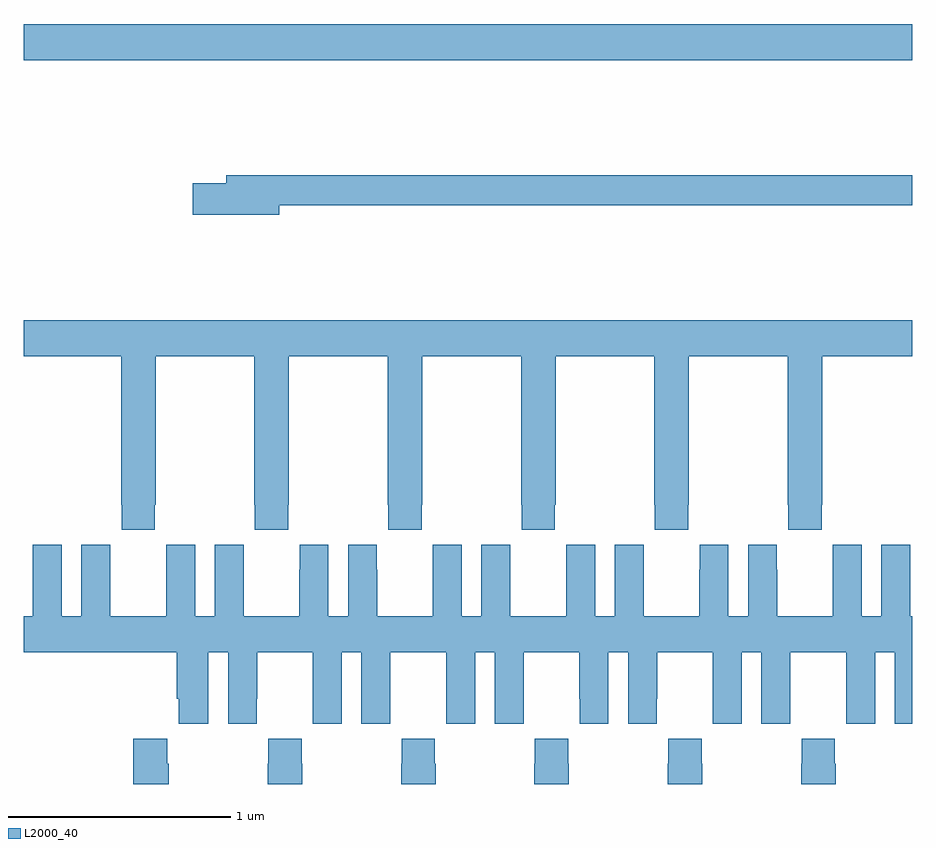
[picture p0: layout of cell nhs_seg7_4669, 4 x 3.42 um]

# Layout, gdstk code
import gdstk
lib = gdstk.Library(unit=1e-6, precision=1e-09)
def R(c, l, rs):  # rectangles x0, y0, x1, y1
    for r in rs: c.add(gdstk.rectangle(r[:2], r[2:], *l))
def P(c, l, *ps):  # polygons
    for p in ps: c.add(gdstk.Polygon(p, *l))
L2000_40 = (2000, 40)

nhs_seg7_4669 = lib.new_cell('nhs_seg7_4669')
R(nhs_seg7_4669, L2000_40, [(405,1027.256,409,1027.42)])
P(nhs_seg7_4669, L2000_40, [(406.15,1026.604),(409,1026.604),(409,1026.74),(405.911,1026.74),(405.911,1026.704),(405.762,1026.704),(405.762,1026.562),(406.15,1026.562)],
  [(405.591,1025.257),(405.594,1025.257),(405.594,1025.924),(406.039,1025.924),(406.039,1025.257),(406.041,1025.257),(406.041,1025.145),(406.191,1025.145),(406.191,1025.257),(406.194,1025.257),(406.194,1025.924),(406.639,1025.924),(406.639,1025.257),(406.641,1025.257),(406.641,1025.145),(406.791,1025.145),(406.791,1025.257),(406.794,1025.257),(406.794,1025.924),(407.239,1025.924),(407.239,1025.257),(407.241,1025.257),(407.241,1025.145),(407.391,1025.145),(407.391,1025.257),(407.394,1025.257),(407.394,1025.924),(407.839,1025.924),(407.839,1025.257),(407.841,1025.257),(407.841,1025.145),(407.991,1025.145),(407.991,1025.257),(407.994,1025.257),(407.994,1025.924),(408.439,1025.924),(408.439,1025.257),(408.441,1025.257),(408.441,1025.145),(408.591,1025.145),(408.591,1025.257),(408.594,1025.257),(408.594,1025.924),(409,1025.924),(409,1026.088),(405,1026.088),(405,1025.924),(405.439,1025.924),(405.439,1025.257),(405.441,1025.257),(405.441,1025.145),(405.591,1025.145)],
  [(407.191,1024.964),(407.19,1024.964),(407.19,1025.077),(407.06,1025.077),(407.06,1024.756),(406.972,1024.756),(406.972,1025.077),(406.842,1025.077),(406.842,1024.964),(406.841,1024.964),(406.841,1024.756),(406.591,1024.756),(406.591,1024.964),(406.59,1024.964),(406.59,1025.077),(406.46,1025.077),(406.46,1024.756),(406.372,1024.756),(406.372,1025.077),(406.242,1025.077),(406.242,1024.964),(406.241,1024.964),(406.241,1024.756),(405.991,1024.756),(405.991,1024.964),(405.99,1024.964),(405.99,1025.077),(405.86,1025.077),(405.86,1024.756),(405.772,1024.756),(405.772,1025.077),(405.642,1025.077),(405.642,1024.964),(405.641,1024.964),(405.641,1024.756),(405.391,1024.756),(405.391,1024.964),(405.39,1024.964),(405.39,1025.077),(405.26,1025.077),(405.26,1024.756),(405.172,1024.756),(405.172,1025.077),(405.042,1025.077),(405.042,1024.964),(405.041,1024.964),(405.041,1024.756),(405,1024.756),(405,1024.592),(405.689,1024.592),(405.689,1024.384),(405.698,1024.384),(405.698,1024.272),(405.832,1024.272),(405.832,1024.592),(405.92,1024.592),(405.92,1024.272),(406.05,1024.272),(406.05,1024.384),(406.051,1024.384),(406.051,1024.592),(406.301,1024.592),(406.301,1024.384),(406.302,1024.384),(406.302,1024.272),(406.432,1024.272),(406.432,1024.592),(406.52,1024.592),(406.52,1024.272),(406.65,1024.272),(406.65,1024.384),(406.651,1024.384),(406.651,1024.592),(406.901,1024.592),(406.901,1024.384),(406.902,1024.384),(406.902,1024.272),(407.032,1024.272),(407.032,1024.592),(407.12,1024.592),(407.12,1024.272),(407.25,1024.272),(407.25,1024.384),(407.251,1024.384),(407.251,1024.592),(407.501,1024.592),(407.501,1024.384),(407.502,1024.384),(407.502,1024.272),(407.632,1024.272),(407.632,1024.592),(407.72,1024.592),(407.72,1024.272),(407.85,1024.272),(407.85,1024.384),(407.851,1024.384),(407.851,1024.592),(408.101,1024.592),(408.101,1024.384),(408.102,1024.384),(408.102,1024.272),(408.232,1024.272),(408.232,1024.592),(408.32,1024.592),(408.32,1024.272),(408.45,1024.272),(408.45,1024.384),(408.451,1024.384),(408.451,1024.592),(408.701,1024.592),(408.701,1024.384),(408.702,1024.384),(408.702,1024.272),(408.832,1024.272),(408.832,1024.592),(408.92,1024.592),(408.92,1024.272),(409,1024.272),(409,1024.756),(408.991,1024.756),(408.991,1024.964),(408.99,1024.964),(408.99,1025.077),(408.86,1025.077),(408.86,1024.756),(408.772,1024.756),(408.772,1025.077),(408.642,1025.077),(408.642,1024.964),(408.641,1024.964),(408.641,1024.756),(408.391,1024.756),(408.391,1024.964),(408.39,1024.964),(408.39,1025.077),(408.26,1025.077),(408.26,1024.756),(408.172,1024.756),(408.172,1025.077),(408.042,1025.077),(408.042,1024.964),(408.041,1024.964),(408.041,1024.756),(407.791,1024.756),(407.791,1024.964),(407.79,1024.964),(407.79,1025.077),(407.66,1025.077),(407.66,1024.756),(407.572,1024.756),(407.572,1025.077),(407.442,1025.077),(407.442,1024.964),(407.441,1024.964),(407.441,1024.756),(407.191,1024.756)],
  [(407.454,1024.091),(407.451,1024.091),(407.451,1024.204),(407.301,1024.204),(407.301,1024.091),(407.299,1024.091),(407.299,1024),(407.454,1024)],
  [(408.054,1024.091),(408.051,1024.091),(408.051,1024.204),(407.901,1024.204),(407.901,1024.091),(407.899,1024.091),(407.899,1024),(408.054,1024)],
  [(408.654,1024.091),(408.651,1024.091),(408.651,1024.204),(408.501,1024.204),(408.501,1024.091),(408.499,1024.091),(408.499,1024),(408.654,1024)],
  [(406.854,1024.091),(406.851,1024.091),(406.851,1024.204),(406.701,1024.204),(406.701,1024.091),(406.699,1024.091),(406.699,1024),(406.854,1024)],
  [(406.254,1024.091),(406.251,1024.091),(406.251,1024.204),(406.101,1024.204),(406.101,1024.091),(406.099,1024.091),(406.099,1024),(406.254,1024)],
  [(405.654,1024.091),(405.647,1024.091),(405.647,1024.204),(405.494,1024.204),(405.494,1024),(405.654,1024)])

lib.write_gds('nhs_seg7_4669.gds')
